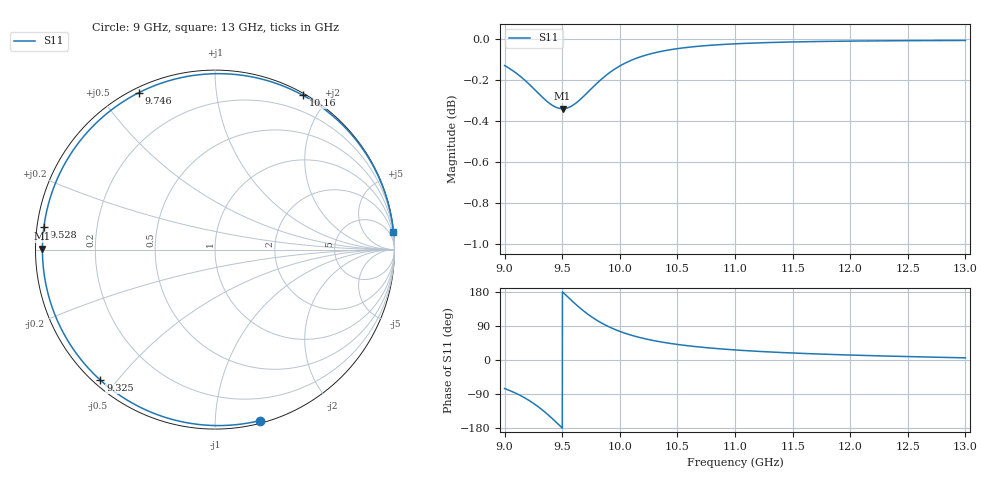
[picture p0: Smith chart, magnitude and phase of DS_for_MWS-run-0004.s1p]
! TOUCHSTONE file generated by CST DESIGN STUDIO
! Date and time: Tue Feb  4 17:45:01 2025
! Project name: C:\Work\MatlabApps\UnitCellOptimizationMatlab\CST\unitcell.cst
! Tree item: Tasks\Sweep1\SPara1\S-Parameters
! Header version: 2024
! Port assignment regex: !\s*Touchstone port\s*([0-9]+)\s*=\s*(CST MWS port|CST DES external port|CST DES block port)\s*(.+)\s* \(\"(.*)\"\)(\s*mode\s*([0-9]+))?.*
! Touchstone port assignment:
! Touchstone port 1 = CST DES external port 1 ("")
# GHz S MA R 50
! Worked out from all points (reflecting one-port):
!   4001 points, 9 GHz to 13 GHz, reference 50 ohm
!   lowest |S11| = -0.3 dB at 9.503 GHz (marker M1), VSWR 51.02, Z = 0.98 + j0.148 ohm
!   phase of S11 starts at -75 deg and turns -279 deg over the sweep
!   S11 on the Smith chart (normalised r, x): 9 GHz: 0.02, -1.30; 9.325 GHz: 0.02, -0.45; 9.528 GHz: 0.02, +0.07; 9.746 GHz: 0.02, +0.63; 10.16 GHz: 0.02, +1.72; 13 GHz: 0, +20
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9  0.9851 -75.3
9.085  0.9816 -85.9
9.187  0.9764 -102.1
9.259  0.972 -116.2
9.325  0.9679 -131.2
9.372  0.9653 -143.2
9.421  0.9631 -156.6
9.461  0.962 -168.1
9.5  0.9616 -179.5
9.503  0.9616 179.7
9.528  0.9617 172.3
9.582  0.963 156.8
9.642  0.9657 140.5
9.693  0.9687 127.7
9.746  0.972 115.8
9.798  0.9751 105.4
9.856  0.9784 95.2
9.927  0.9819 84.6
10  0.9848 75.5
10.16  0.9895 60.4
10.314  0.9923 50.1
10.5  0.9944 41.1
10.722  0.996 33.4
11  0.9971 26.5
11.5  0.9982 18.4
12  0.9986 13.1
12.5  0.9989 9.0
13  0.999 5.7
